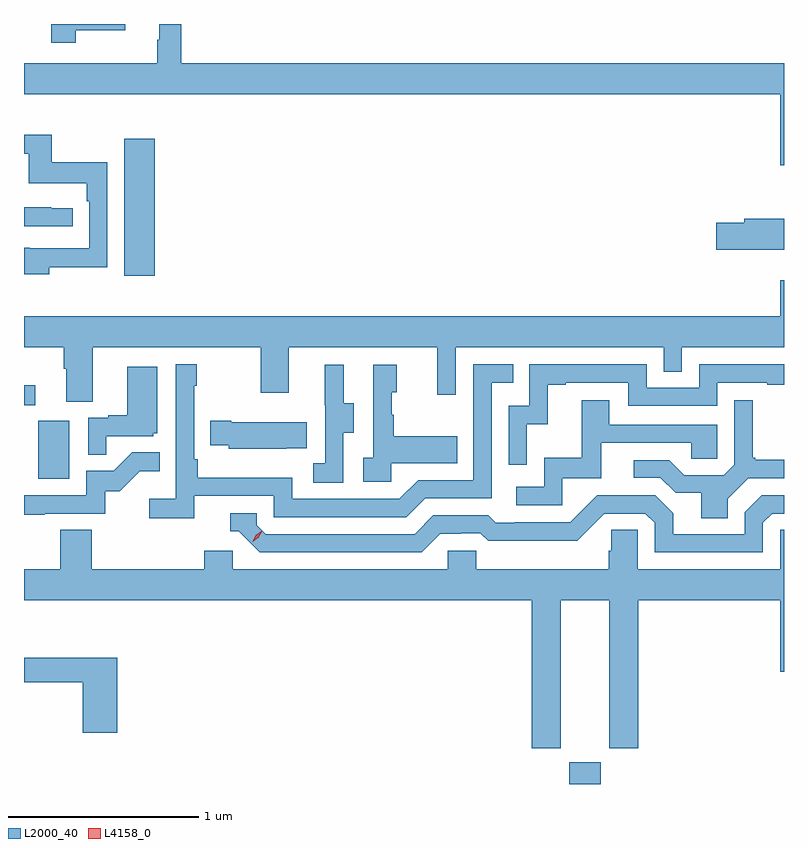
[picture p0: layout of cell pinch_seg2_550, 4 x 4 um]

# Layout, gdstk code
import gdstk
lib = gdstk.Library(unit=1e-6, precision=1e-09)
def R(c, l, rs):  # rectangles x0, y0, x1, y1
    for r in rs: c.add(gdstk.rectangle(r[:2], r[2:], *l))
def P(c, l, *ps):  # polygons
    for p in ps: c.add(gdstk.Polygon(p, *l))
L2000_40 = (2000, 40)
L4158_0 = (4158, 0)

pinch_seg2_550 = lib.new_cell('pinch_seg2_550')
R(pinch_seg2_550, L2000_40, [(1086.974,620.03,1087.138,620.145), (1084.178,621.636,1084.342,621.943), (1084.103,622.023,1084.162,622.129), (1084.631,622.704,1084.792,623.425)])
P(pinch_seg2_550, L2000_40, [(1088.103,623.824),(1084.931,623.824),(1084.931,624.03),(1084.814,624.03),(1084.814,623.948),(1084.803,623.948),(1084.803,623.824),(1084.103,623.824),(1084.103,623.66),(1088.084,623.66),(1088.084,623.286),(1088.103,623.286)],
  [(1084.375,623.996),(1084.636,623.996),(1084.636,624.03),(1084.246,624.03),(1084.246,623.931),(1084.375,623.931)],
  [(1084.237,622.75),(1084.542,622.75),(1084.542,623.302),(1084.249,623.302),(1084.249,623.448),(1084.103,623.448),(1084.103,623.347),(1084.128,623.347),(1084.128,623.192),(1084.433,623.192),(1084.433,623.096),(1084.446,623.096),(1084.446,622.851),(1084.133,622.851),(1084.133,622.852),(1084.103,622.852),(1084.103,622.712),(1084.237,622.712)],
  [(1084.36,623.061),(1084.247,623.061),(1084.247,623.066),(1084.103,623.066),(1084.103,622.965),(1084.36,622.965)],
  [(1088.103,623.006),(1087.895,623.006),(1087.895,622.985),(1087.746,622.985),(1087.746,622.843),(1088.103,622.843)],
  [(1084.465,622.328),(1085.35,622.328),(1085.35,622.089),(1085.497,622.089),(1085.497,622.328),(1086.278,622.328),(1086.278,622.08),(1086.375,622.08),(1086.375,622.328),(1087.47,622.328),(1087.47,622.201),(1087.566,622.201),(1087.566,622.328),(1088.103,622.328),(1088.103,622.681),(1088.084,622.681),(1088.084,622.492),(1084.103,622.492),(1084.103,622.328),(1084.313,622.328),(1084.313,622.216),(1084.325,622.216),(1084.325,622.042),(1084.465,622.042)],
  [(1085,621.546),(1085.418,621.546),(1085.418,621.435),(1086.115,621.435),(1086.214,621.534),(1086.564,621.534),(1086.564,622.143),(1086.677,622.143),(1086.677,622.239),(1086.468,622.239),(1086.468,621.63),(1086.177,621.63),(1086.078,621.531),(1085.514,621.531),(1085.514,621.643),(1085.018,621.643),(1085.018,621.739),(1084.998,621.739),(1084.998,622.127),(1085.011,622.127),(1085.011,622.24),(1084.902,622.24),(1084.902,621.532),(1084.761,621.532),(1084.761,621.43),(1085,621.43)],
  [(1086.75,621.923),(1086.86,621.923),(1086.86,622.131),(1086.955,622.131),(1086.955,622.143),(1087.284,622.143),(1087.284,622.02),(1087.752,622.02),(1087.752,622.143),(1088.015,622.143),(1088.015,622.131),(1088.103,622.131),(1088.103,622.239),(1087.656,622.239),(1087.656,622.116),(1087.38,622.116),(1087.38,622.239),(1086.762,622.239),(1086.762,622.02),(1086.654,622.02),(1086.654,621.711),(1086.75,621.711)],
  [(1085.784,621.88),(1085.839,621.88),(1085.839,622.035),(1085.785,622.035),(1085.785,622.237),(1085.687,622.237),(1085.687,622.023),(1085.688,622.023),(1085.688,621.719),(1085.625,621.719),(1085.625,621.616),(1085.784,621.616)],
  [(1086.036,621.719),(1086.383,621.719),(1086.383,621.859),(1086.049,621.859),(1086.049,621.974),(1086.039,621.974),(1086.039,622.092),(1086.064,622.092),(1086.064,622.237),(1085.94,622.237),(1085.94,621.746),(1085.889,621.746),(1085.889,621.621),(1086.036,621.621)],
  [(1084.535,621.861),(1084.782,621.861),(1084.782,621.876),(1084.804,621.876),(1084.804,622.225),(1084.646,622.225),(1084.646,621.97),(1084.547,621.97),(1084.547,621.957),(1084.44,621.957),(1084.44,621.763),(1084.535,621.763)],
  [(1086.936,621.639),(1087.141,621.639),(1087.141,621.825),(1087.615,621.825),(1087.615,621.741),(1087.752,621.741),(1087.752,621.921),(1087.183,621.921),(1087.183,622.051),(1087.039,622.051),(1087.039,621.748),(1086.84,621.748),(1086.84,621.594),(1086.693,621.594),(1086.693,621.498),(1086.936,621.498)],
  [(1087.807,621.532),(1087.914,621.639),(1088.103,621.639),(1088.103,621.736),(1087.951,621.736),(1087.951,621.748),(1087.939,621.748),(1087.939,622.051),(1087.842,622.051),(1087.842,621.711),(1087.785,621.654),(1087.579,621.654),(1087.498,621.735),(1087.311,621.735),(1087.311,621.642),(1087.452,621.642),(1087.532,621.562),(1087.667,621.562),(1087.667,621.43),(1087.807,621.43)],
  [(1085.483,621.797),(1085.591,621.797),(1085.591,621.934),(1085.194,621.934),(1085.194,621.942),(1085.083,621.942),(1085.083,621.812),(1085.181,621.812),(1085.181,621.794),(1085.483,621.794)],
  [(1084.211,621.453),(1084.53,621.453),(1084.53,621.57),(1084.606,621.57),(1084.713,621.677),(1084.817,621.677),(1084.817,621.776),(1084.673,621.776),(1084.575,621.678),(1084.431,621.678),(1084.431,621.549),(1084.103,621.549),(1084.103,621.448),(1084.211,621.448)],
  [(1086.295,621.348),(1086.402,621.348),(1086.402,621.351),(1086.505,621.351),(1086.547,621.309),(1086.78,621.309),(1086.78,621.311),(1087.016,621.311),(1087.158,621.453),(1087.374,621.453),(1087.422,621.405),(1087.422,621.249),(1087.992,621.249),(1087.992,621.405),(1088.04,621.453),(1088.103,621.453),(1088.103,621.549),(1087.986,621.549),(1087.896,621.459),(1087.896,621.345),(1087.519,621.345),(1087.519,621.455),(1087.425,621.549),(1087.119,621.549),(1086.978,621.408),(1086.685,621.408),(1086.685,621.405),(1086.586,621.405),(1086.547,621.444),(1086.258,621.444),(1086.159,621.345),(1085.376,621.345),(1085.328,621.393),(1085.328,621.456),(1085.189,621.456),(1085.189,621.36),(1085.232,621.36),(1085.343,621.249),(1086.196,621.249)],
  [(1086.928,620.996),(1087.184,620.996),(1087.184,620.217),(1087.337,620.217),(1087.337,620.996),(1088.084,620.996),(1088.084,620.622),(1088.103,620.622),(1088.103,621.368),(1088.082,621.368),(1088.082,621.16),(1087.332,621.16),(1087.332,621.368),(1087.195,621.368),(1087.195,621.258),(1087.181,621.258),(1087.181,621.16),(1086.483,621.16),(1086.483,621.258),(1086.333,621.258),(1086.333,621.16),(1085.202,621.16),(1085.202,621.258),(1085.051,621.258),(1085.051,621.16),(1084.46,621.16),(1084.46,621.368),(1084.295,621.368),(1084.295,621.16),(1084.103,621.16),(1084.103,620.996),(1086.776,620.996),(1086.776,620.217),(1086.928,620.217)],
  [(1084.595,620.695),(1084.103,620.695),(1084.103,620.566),(1084.412,620.566),(1084.412,620.301),(1084.595,620.301)])
P(pinch_seg2_550, L4158_0, [(1085.306,621.306),(1085.306,621.307),(1085.322,621.339),(1085.352,621.359),(1085.353,621.359),(1085.353,621.358),(1085.336,621.326),(1085.306,621.306)])

lib.write_gds('pinch_seg2_550.gds')
